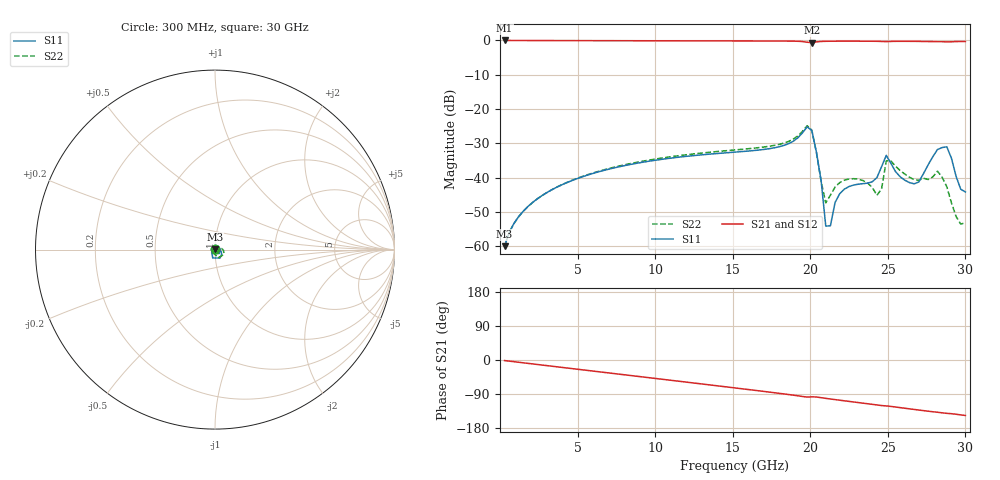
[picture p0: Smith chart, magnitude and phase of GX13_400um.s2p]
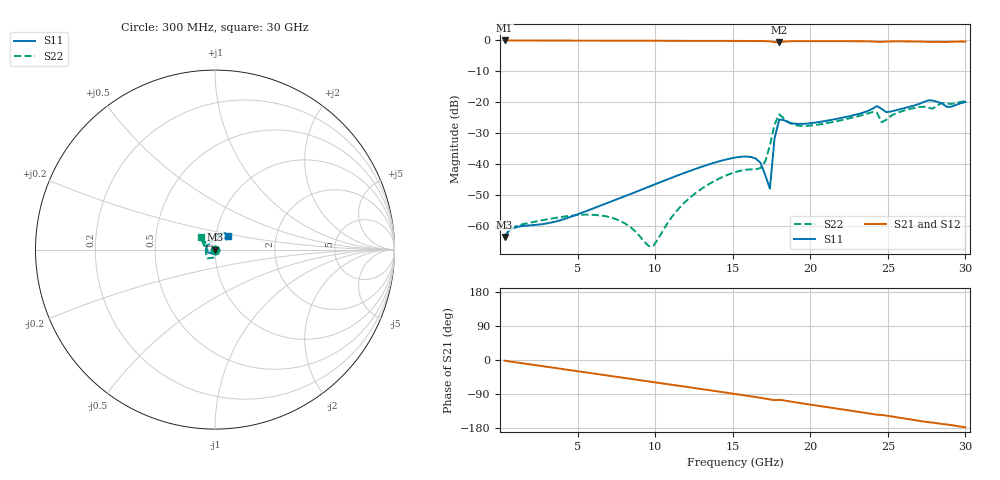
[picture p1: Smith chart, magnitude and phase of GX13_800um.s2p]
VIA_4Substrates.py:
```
import matplotlib.pyplot as plt
import skrf as rf
from skrf import Network

plt.rcParams["font.family"] = "Century Gothic"
plt.rcParams["font.size"] = "14"

SP_GX_400 = Network('SP/VIA/GX13_400um.s2p')
SP_GX_800 = Network('SP/VIA/GX13_800um.s2p')
SP_GL_400 = Network('SP/VIA/GL102_400um.s2p')
SP_GL_800 = Network('SP/VIA/GL102_800um.s2p')


#S11 400
plt.figure()
plt.title("Core 400 мкм")
SP_GL_400.plot_s_db(m=1-1, n=1-1, label='GL102', linewidth ='3')
SP_GX_400.plot_s_db(m=1-1, n=1-1, label='GX13', linewidth ='3')
plt.xlabel('F, Гц')
plt.ylabel('S11, дБ')
plt.grid()

#S11 800
plt.figure()
plt.title("Core 800 мкм")
SP_GL_800.plot_s_db(m=1-1, n=1-1, label='GL102', linewidth ='3')
SP_GX_800.plot_s_db(m=1-1, n=1-1, label='GX13', linewidth ='3')
plt.xlabel('F, Гц')
plt.ylabel('S11, дБ')
plt.grid()



#S21 400
plt.figure()
plt.title("Core 400 мкм")
SP_GL_400.plot_s_db(m=2-1, n=1-1, label='GL102', linewidth ='3')
SP_GX_400.plot_s_db(m=2-1, n=1-1, label='GX13', linewidth ='3')
plt.xlabel('F, Гц')
plt.ylabel('S21, дБ')
plt.grid()

#S21 800
plt.figure()
plt.title("Core 800 мкм")
SP_GL_800.plot_s_db(m=2-1, n=1-1, label='GL102', linewidth ='3')
SP_GX_800.plot_s_db(m=2-1, n=1-1, label='GX13 ', linewidth ='3')
plt.xlabel('F, Гц')
plt.ylabel('S21, дБ')
plt.grid()



plt.show()
```
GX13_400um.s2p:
! Created Wed Apr 21 15:42:31 2021
! List of port names and net name(s): example Port n = <port_name> <net_name1> <net_name2> ...
! Port 1 = P1 P2 gnd!
! Port 2 = P2 P2 P4
# hz S ri R 50
! 2 Port Network Data from data block
! freq  reS11  imS11  reS21  imS21  reS12  imS12  reS22  imS22
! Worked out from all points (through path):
!   100 points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, 300 MHz to 30 GHz, reference 50 ohm
!   highest |S21| = -0.01 dB at 300 MHz (marker M1); lowest = -0.7 dB at 20.1 GHz (marker M2)
!   group delay of S21, straight-line fit = 13.5 ps
!   lowest |S11| = -60.0 dB at 300 MHz (marker M3), VSWR 1.00, Z = 50.1 + j0.0837 ohm
!   |S11| at or under -10 dB: start of sweep to end of sweep
!   |S22| runs from -60.0 to -24.9 dB; largest |S21 - S12| = 0
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3e8  0.000544 0.000837  0.9987 -0.0265  0.9987 -0.0265  0.000538 0.000839
4.5e9  0.00396 0.00782  0.9217 -0.3718  0.9217 -0.3718  0.00299 0.00832
1.53e10  0.0231 0.00499  0.2635 -0.9471  0.2635 -0.9471  0.0211 0.0142
2.01e10  -0.0126 -0.0468  -0.1153 -0.9194  -0.1153 -0.9194  0.0169 -0.0462
2.1e10  -0.00192 -0.000338  -0.1888 -0.9529  -0.1888 -0.9529  0.00279 -0.00323
2.25e10  0.00735 0.000683  -0.3212 -0.9206  -0.3212 -0.9206  0.00947 0.000992
2.43e10  0.0087 0.00491  -0.4653 -0.8528  -0.4653 -0.8528  0.00517 0.00187
2.49e10  0.0208 0.0034  -0.498 -0.8207  -0.498 -0.8207  0.011 0.0136
2.67e10  0.00789 0.00179  -0.6294 -0.7376  -0.6294 -0.7376  0.00926 -0.000691
2.88e10  0.0258 -0.011  -0.7376 -0.6029  -0.7376 -0.6029  -0.00722 -0.00137
3e10  0.00612 -0.000667  -0.805 -0.5344  -0.805 -0.5344  0.000652 -0.0021
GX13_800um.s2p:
! Created Wed Apr 21 15:05:08 2021
! List of port names and net name(s): example Port n = <port_name> <net_name1> <net_name2> ...
! Port 1 = P1 P2 gnd!
! Port 2 = P2 P2 P4
# hz S ri R 50
! 2 Port Network Data from data block
! freq  reS11  imS11  reS21  imS21  reS12  imS12  reS22  imS22
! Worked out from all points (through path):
!   100 points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, 300 MHz to 30 GHz, reference 50 ohm
!   highest |S21| = -0.01 dB at 300 MHz (marker M1); lowest = -0.6 dB at 18 GHz (marker M2)
!   group delay of S21, straight-line fit = 16.4 ps
!   lowest |S11| = -63.5 dB at 300 MHz (marker M3), VSWR 1.00, Z = 50.1 + j0.0361 ohm
!   |S11| at or under -10 dB: start of sweep to end of sweep
!   |S22| runs from -66.5 to -19.6 dB; largest |S21 - S12| = 0
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3e8  0.000564 0.000361  0.9985 -0.032  0.9985 -0.032  0.000567 0.000363
6e9  -0.000232 0.00191  0.8076 -0.5752  0.8076 -0.5752  0.00108 0.00107
9.9e9  -0.00255 0.00387  0.5173 -0.8409  0.5173 -0.8409  0.00026 -0.000408
1.2e10  -0.0045 0.00587  0.324 -0.9303  0.324 -0.9303  -0.00155 -0.00201
1.53e10  -0.00628 0.0113  -0.00857 -0.9812  -0.00857 -0.9812  -0.00611 -0.00455
1.68e10  -0.00176 0.0103  -0.1676 -0.9623  -0.1676 -0.9623  -0.00371 -0.00784
1.74e10  0.00264 -0.00302  -0.2353 -0.9358  -0.2353 -0.9358  0.0039 -0.0197
1.77e10  -0.0097 -0.0245  -0.2577 -0.9041  -0.2577 -0.9041  0.000371 -0.0439
1.8e10  -0.0514 -0.0114  -0.2453 -0.8988  -0.2453 -0.8988  -0.0416 -0.0487
2.46e10  0.0276 0.0734  -0.7759 -0.5428  -0.7759 -0.5428  -0.0366 0.0306
3e10  0.0699 0.0733  -0.957 -0.0394  -0.957 -0.0394  -0.0763 0.0723
